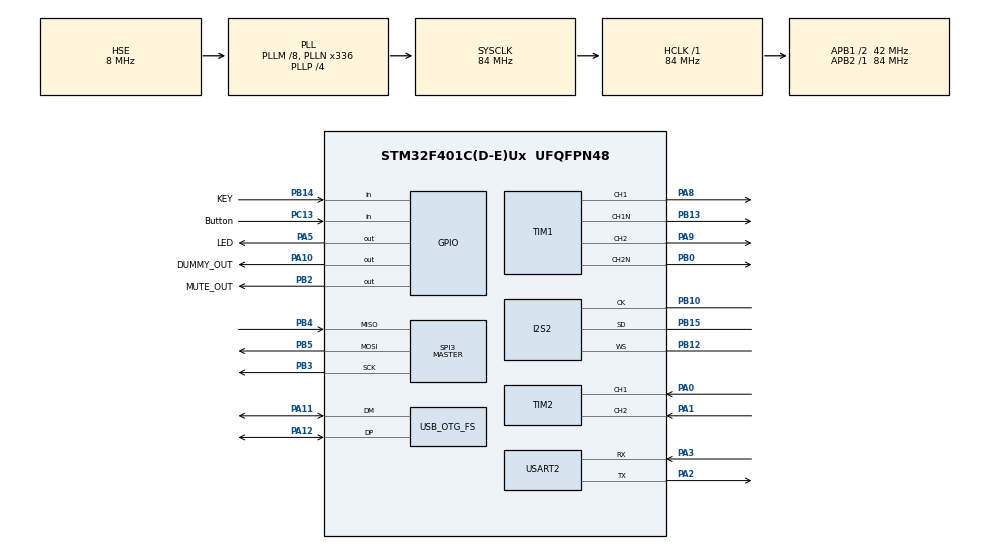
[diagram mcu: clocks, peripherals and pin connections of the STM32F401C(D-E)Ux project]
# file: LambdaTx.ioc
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Dma.Request0=TIM1_CH1
Dma.Request1=TIM1_CH2
Dma.Request2=SPI2_TX
Dma.Request3=SPI3_TX
Dma.SPI2_TX.2.Direction=DMA_MEMORY_TO_PERIPH
Dma.SPI2_TX.2.FIFOMode=DMA_FIFOMODE_ENABLE
Dma.SPI2_TX.2.FIFOThreshold=DMA_FIFO_THRESHOLD_FULL
Dma.SPI2_TX.2.Instance=DMA1_Stream4
Dma.SPI2_TX.2.MemBurst=DMA_MBURST_INC8
Dma.SPI2_TX.2.MemDataAlignment=DMA_MDATAALIGN_HALFWORD
Dma.SPI2_TX.2.MemInc=DMA_MINC_ENABLE
Dma.SPI2_TX.2.Mode=DMA_CIRCULAR
Dma.SPI2_TX.2.PeriphBurst=DMA_PBURST_SINGLE
Dma.SPI2_TX.2.PeriphDataAlignment=DMA_PDATAALIGN_HALFWORD
Dma.SPI2_TX.2.PeriphInc=DMA_PINC_DISABLE
Dma.SPI2_TX.2.Priority=DMA_PRIORITY_HIGH
Dma.SPI3_TX.3.Direction=DMA_MEMORY_TO_PERIPH
Dma.SPI3_TX.3.FIFOMode=DMA_FIFOMODE_DISABLE
Dma.SPI3_TX.3.Instance=DMA1_Stream5
Dma.SPI3_TX.3.MemDataAlignment=DMA_MDATAALIGN_BYTE
Dma.SPI3_TX.3.MemInc=DMA_MINC_ENABLE
Dma.SPI3_TX.3.Mode=DMA_NORMAL
Dma.SPI3_TX.3.PeriphDataAlignment=DMA_PDATAALIGN_BYTE
Dma.SPI3_TX.3.PeriphInc=DMA_PINC_DISABLE
Dma.SPI3_TX.3.Priority=DMA_PRIORITY_LOW
Dma.TIM1_CH1.0.Direction=DMA_MEMORY_TO_PERIPH
Dma.TIM1_CH1.0.FIFOMode=DMA_FIFOMODE_ENABLE
Dma.TIM1_CH1.0.FIFOThreshold=DMA_FIFO_THRESHOLD_FULL
Dma.TIM1_CH1.0.Instance=DMA2_Stream1
Dma.TIM1_CH1.0.MemBurst=DMA_MBURST_INC8
Dma.TIM1_CH1.0.MemDataAlignment=DMA_MDATAALIGN_HALFWORD
Dma.TIM1_CH1.0.MemInc=DMA_MINC_ENABLE
Dma.TIM1_CH1.0.Mode=DMA_CIRCULAR
Dma.TIM1_CH1.0.PeriphBurst=DMA_PBURST_SINGLE
Dma.TIM1_CH1.0.PeriphDataAlignment=DMA_PDATAALIGN_HALFWORD
Dma.TIM1_CH1.0.PeriphInc=DMA_PINC_DISABLE
Dma.TIM1_CH1.0.Priority=DMA_PRIORITY_HIGH
Dma.TIM1_CH2.1.Direction=DMA_MEMORY_TO_PERIPH
Dma.TIM1_CH2.1.FIFOMode=DMA_FIFOMODE_ENABLE
Dma.TIM1_CH2.1.FIFOThreshold=DMA_FIFO_THRESHOLD_FULL
Dma.TIM1_CH2.1.Instance=DMA2_Stream2
Dma.TIM1_CH2.1.MemBurst=DMA_MBURST_INC8
Dma.TIM1_CH2.1.MemDataAlignment=DMA_MDATAALIGN_HALFWORD
Dma.TIM1_CH2.1.MemInc=DMA_MINC_ENABLE
Dma.TIM1_CH2.1.Mode=DMA_CIRCULAR
Dma.TIM1_CH2.1.PeriphBurst=DMA_PBURST_SINGLE
Dma.TIM1_CH2.1.PeriphDataAlignment=DMA_PDATAALIGN_HALFWORD
Dma.TIM1_CH2.1.PeriphInc=DMA_PINC_DISABLE
Dma.TIM1_CH2.1.Priority=DMA_PRIORITY_HIGH
I2S2.AudioFreq=I2S_AUDIOFREQ_192K
I2S2.ErrorAudioFreq=-2.34 %
I2S2.FullDuplexMode=I2S_FULLDUPLEXMODE_DISABLE
I2S2.Instance=SPI$Index
I2S2.RealAudioFreq=187.5 KHz
I2S2.VirtualMode=I2S_MODE_MASTER
Mcu.Family=STM32F4
Mcu.Name=STM32F401C(D-E)Ux
Mcu.Package=UFQFPN48
NVIC.DMA1_Stream4_IRQn=true\:0\:0\:false\:false\:true\:false\:true\:true
NVIC.DMA1_Stream5_IRQn=true\:0\:0\:false\:false\:true\:false\:true\:true
NVIC.DMA2_Stream1_IRQn=true\:0\:0\:false\:false\:true\:false\:true\:true
NVIC.DMA2_Stream2_IRQn=true\:0\:0\:false\:false\:true\:false\:true\:true
NVIC.OTG_FS_IRQn=true\:0\:0\:false\:false\:true\:false\:true\:true
NVIC.PriorityGroup=NVIC_PRIORITYGROUP_4
PA0-WKUP.GPIO_PuPd=GPIO_PULLUP
PA0-WKUP.Signal=S_TIM2_CH1_ETR
PA1.GPIO_PuPd=GPIO_PULLUP
PA1.Signal=S_TIM2_CH2
PA10.GPIO_Label=DUMMY_OUT
PA10.Signal=GPIO_Output
PA11.Mode=Device_Only
PA11.Signal=USB_OTG_FS_DM
PA12.Mode=Device_Only
PA12.Signal=USB_OTG_FS_DP
PA13.Mode=Serial_Wire
PA13.Signal=SYS_JTMS-SWDIO
PA14.Mode=Serial_Wire
PA14.Signal=SYS_JTCK-SWCLK
PA2.Mode=Asynchronous
PA2.Signal=USART2_TX
PA3.Mode=Asynchronous
PA3.Signal=USART2_RX
PA5.GPIO_Label=LED
PA5.Signal=GPIO_Output
PA8.GPIO_ModeDefaultPP=GPIO_MODE_AF_OD
PA8.GPIO_PuPd=GPIO_PULLUP
PA8.GPIO_Speed=GPIO_SPEED_FREQ_HIGH
PA8.Signal=S_TIM1_CH1
PA9.GPIO_ModeDefaultPP=GPIO_MODE_AF_OD
PA9.GPIO_PuPd=GPIO_PULLUP
PA9.GPIO_Speed=GPIO_SPEED_FREQ_HIGH
PA9.Signal=S_TIM1_CH2
PB0.GPIO_ModeDefaultPP=GPIO_MODE_AF_PP
PB0.GPIO_Speed=GPIO_SPEED_FREQ_HIGH
PB0.Mode=PWM Generation2 CH2 CH2N
PB0.Signal=TIM1_CH2N
PB10.Mode=Half_Duplex_Master
PB10.Signal=I2S2_CK
PB12.Mode=Half_Duplex_Master
PB12.Signal=I2S2_WS
PB13.GPIO_ModeDefaultPP=GPIO_MODE_AF_PP
PB13.GPIO_Speed=GPIO_SPEED_FREQ_HIGH
PB13.Mode=PWM Generation1 CH1 CH1N
PB13.Signal=TIM1_CH1N
PB14.GPIO_Label=KEY
PB14.Signal=GPIO_Input
PB15.Mode=Half_Duplex_Master
PB15.Signal=I2S2_SD
PB2.GPIO_Label=MUTE_OUT
PB2.Signal=GPIO_Output
PB3.Mode=Full_Duplex_Master
PB3.Signal=SPI3_SCK
PB4.Mode=Full_Duplex_Master
PB4.Signal=SPI3_MISO
PB5.Mode=Full_Duplex_Master
PB5.Signal=SPI3_MOSI
PC13-ANTI_TAMP.GPIO_Label=Button
PC13-ANTI_TAMP.Signal=GPIO_Input
PC14-OSC32_IN.Mode=LSE-External-Oscillator
PC14-OSC32_IN.Signal=RCC_OSC32_IN
PC15-OSC32_OUT.Mode=LSE-External-Oscillator
PC15-OSC32_OUT.Signal=RCC_OSC32_OUT
PH0\ -\ OSC_IN.Mode=HSE-External-Oscillator
PH0\ -\ OSC_IN.Signal=RCC_OSC_IN
PH1\ -\ OSC_OUT.Mode=HSE-External-Oscillator
PH1\ -\ OSC_OUT.Signal=RCC_OSC_OUT
ProjectManager.HeapSize=0x200
ProjectManager.StackSize=0x400
ProjectManager.TargetToolchain=STM32CubeIDE
RCC.48MHZClocksFreq_Value=48000000
RCC.AHBFreq_Value=84000000
RCC.APB1CLKDivider=RCC_HCLK_DIV2
RCC.APB1Freq_Value=42000000
RCC.APB1TimFreq_Value=84000000
RCC.APB2Freq_Value=84000000
RCC.APB2TimFreq_Value=84000000
RCC.CortexFreq_Value=84000000
RCC.HCLKFreq_Value=84000000
RCC.HSE_VALUE=8000000
RCC.HSI_VALUE=16000000
RCC.PLLM=8
RCC.PLLN=336
RCC.PLLP=RCC_PLLP_DIV4
RCC.PLLQ=7
RCC.SYSCLKFreq_VALUE=84000000
RCC.SYSCLKSource=RCC_SYSCLKSOURCE_PLLCLK
RCC.VCOOutputFreq_Value=336000000
SH.S_TIM1_CH1.0=TIM1_CH1,PWM Generation1 CH1 CH1N
SH.S_TIM1_CH2.0=TIM1_CH2,PWM Generation2 CH2 CH2N
SH.S_TIM2_CH1_ETR.0=TIM2_CH1,Encoder_Interface
SH.S_TIM2_CH2.0=TIM2_CH2,Encoder_Interface
SPI3.CLKPhase=SPI_PHASE_2EDGE
SPI3.CLKPolarity=SPI_POLARITY_HIGH
SPI3.Direction=SPI_DIRECTION_2LINES
SPI3.Mode=SPI_MODE_MASTER
SPI3.VirtualType=VM_MASTER
TIM1.Channel-PWM\ Generation1\ CH1\ CH1N=TIM_CHANNEL_1
TIM1.Channel-PWM\ Generation2\ CH2\ CH2N=TIM_CHANNEL_2
TIM2.AutoReloadPreload=TIM_AUTORELOAD_PRELOAD_ENABLE
TIM2.EncoderMode=TIM_ENCODERMODE_TI12
TIM2.IC2Filter=10
TIM3.Prescaler=840/4-1
USART2.VirtualMode=VM_ASYNC
USB_DEVICE.CLASS_NAME_FS=AUDIO
USB_DEVICE.USBD_AUDIO_FREQ-AUDIO_FS=48000
USB_DEVICE.USBD_SELF_POWERED-AUDIO_FS=0
USB_DEVICE.VirtualMode-AUDIO_FS=Audio
USB_DEVICE.VirtualModeFS=Audio_FS
USB_OTG_FS.VirtualMode=Device_Only
VP_TIM3_VS_ClockSourceINT.Mode=Internal
VP_USB_DEVICE_VS_USB_DEVICE_AUDIO_FS.Mode=AUDIO_FS
board=custom

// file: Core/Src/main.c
/* USER CODE BEGIN Header */
/**
  ******************************************************************************
  * @file           : main.c
  * @brief          : Main program body
  ******************************************************************************
  * @attention
  *
  * <h2><center>&copy; Copyright (c) 2022 STMicroelectronics.
  * All rights reserved.</center></h2>
  *
  * This software component is licensed by ST under Ultimate Liberty license
  * SLA0044, the "License"; You may not use this file except in compliance with
  * the License. You may obtain a copy of the License at:
  *                             www.st.com/SLA0044
  *
  ******************************************************************************
  */
/* USER CODE END Header */
#include "main.h"
#include "usb_device.h"

/* USER CODE BEGIN Includes */
#include <stdio.h>
#include <stdlib.h>

/* USER CODE END Includes */

/* USER CODE BEGIN PD */

//**********************start user define************!!!!!
// cpu clock 84 for stm32f401
#define SYS_CLK_MHZ 84

//#define EYE
// use internal timers for sound out
#define   USE_PWM
//#define USE_I2S
//#define   USE_SPDIF

//slower for float - faster for integer
//#define USE_FLOAT_SIGMA

// integration order 0 , 1 or 2
//#define ORDER 1
#define ORDER 1

// if disabled - direct output (order 0)

// if enabled - use bilinear interpolation
//#define LINEAR_INTERPOLATION

//**********************end user define area************!!!!!!!!

#define TIMER_CLOCK_FREQ 400000.0f

#ifdef  USE_PWM
#if     (ORDER!=0)
#define FREQ  (48000*6)
#define MAX_VOL  (SYS_CLK_MHZ*1000000/FREQ)
#else
#define FREQ  (44100)
#define MAX_VOL = (SYS_CLK_MHZ*1000000/FREQ)
#endif
#endif

#ifdef  USE_I2S  //No PWM, I2S output to external DAC
#define MAX_VOL (65536)
#define FREQ   (2*96000)
#endif

#ifdef  USE_SPDIF  //No PWM, I2S output to external DAC
#define MAX_VOL (65536)
#define FREQ   (96000/2)
#endif

#define DBL_SAMPL 1

#define SIGMA_BITS  16
#define SIGMA       (1<<SIGMA_BITS)

#define USB_DATA_BITS   16
#define USB_DATA_BITS_H (USB_DATA_BITS-1)

#define SPDIF_FRAMES 192
#ifdef  USE_SPDIF
#define N_SIZE      (SPDIF_FRAMES*4)
#else
#define N_SIZE_BITS (8)
#define N_SIZE (1<<N_SIZE_BITS)
#endif

#define ASBUF_SIZE     (N_SIZE*2)
int16_t baudio_buffer[ASBUF_SIZE];

// between [14  20]
#define TIME_BIT_SCALE_FACT 18u
#define TIME_SCALE_FACT     (1u<<TIME_BIT_SCALE_FACT)

//linear is more precision
#ifdef LINEAR_INTERPOLATION
#define BIT_SHIFT_SCALE_FACT 12
#define SHIFT_SCALE_FACT  (1<<BIT_SHIFT_SCALE_FACT)
#endif

//#define MAX_VOL (2046/TIME_SCALE_FACT)

/* USER CODE END PD */

I2S_HandleTypeDef hi2s2;
DMA_HandleTypeDef hdma_spi2_tx;

SPI_HandleTypeDef hspi3;
DMA_HandleTypeDef hdma_spi3_tx;

TIM_HandleTypeDef htim2;
TIM_HandleTypeDef htim3;

UART_HandleTypeDef huart2;

void SystemClock_Config(void);
static void MX_GPIO_Init(void);
static void MX_DMA_Init(void);
static void MX_I2S2_Init(void);
static void MX_SPI3_Init(void);
static void MX_TIM1_Init(void);
static void MX_TIM3_Init(void);
static void MX_TIM2_Init(void);
static void MX_USART2_UART_Init(void);

/* USER CODE BEGIN 0 */

uint16_t* VoiceBuff0 = (uint16_t*)&baudio_buffer[0];
uint16_t* VoiceBuff1 = (uint16_t*)&baudio_buffer[N_SIZE];

void TIM1_TE1()
{
}
void TIM1_TC2()
{
}
void TIM1_HT2()
{
}
void TIM1_TE2()
{
}

void init_timers()
{

	  TIM1->ARR = MAX_VOL-1;
	  LL_AHB1_GRP1_EnableClock(LL_AHB1_GRP1_PERIPH_DMA2);
	  LL_DMA_ConfigAddresses(DMA2, LL_DMA_STREAM_1, (uint32_t)&VoiceBuff0[0], (uint32_t)&TIM1->CCR1, LL_DMA_GetDataTransferDirection(DMA2, LL_DMA_STREAM_1));
	  LL_DMA_SetDataLength(DMA2, LL_DMA_STREAM_1, N_SIZE);
	  LL_DMA_EnableIT_TC(DMA2, LL_DMA_STREAM_1);
	  LL_DMA_EnableIT_TE(DMA2, LL_DMA_STREAM_1);
	  LL_DMA_EnableIT_HT(DMA2, LL_DMA_STREAM_1);

	  LL_DMA_ConfigAddresses(DMA2, LL_DMA_STREAM_2, (uint32_t)&VoiceBuff1[0], (uint32_t)&TIM1->CCR2, LL_DMA_GetDataTransferDirection(DMA2, LL_DMA_STREAM_2));
	  LL_DMA_SetDataLength(DMA2, LL_DMA_STREAM_2, N_SIZE);
	  LL_DMA_EnableIT_TC(DMA2, LL_DMA_STREAM_2);
	  LL_DMA_EnableIT_HT(DMA2, LL_DMA_STREAM_2);
	  LL_DMA_EnableIT_TE(DMA2, LL_DMA_STREAM_2);

	  /***************************/
	  /* Enable the DMA transfer */
	  /***************************/
	  LL_DMA_EnableStream(DMA2, LL_DMA_STREAM_1);
	  LL_DMA_EnableStream(DMA2, LL_DMA_STREAM_2);

	  LL_TIM_EnableDMAReq_CC1(TIM1);
	  LL_TIM_EnableDMAReq_CC2(TIM1);

	  LL_TIM_CC_EnableChannel(TIM1, LL_TIM_CHANNEL_CH1);
	  LL_TIM_CC_EnableChannel(TIM1, LL_TIM_CHANNEL_CH2);

	  LL_TIM_OC_EnablePreload(TIM1, LL_TIM_CHANNEL_CH1);
	  LL_TIM_OC_EnablePreload(TIM1, LL_TIM_CHANNEL_CH2);

	  LL_TIM_CC_EnableChannel(TIM1, LL_TIM_CHANNEL_CH1N);
	  LL_TIM_CC_EnableChannel(TIM1, LL_TIM_CHANNEL_CH2N);
#if 0
	  //LL_TIM_OC_SetPolarity(TIM1, LL_TIM_CHANNEL_CH1,LL_TIM_OCPOLARITY_HIGH);
	  //LL_TIM_OC_SetPolarity(TIM1, LL_TIM_CHANNEL_CH1N,LL_TIM_OCPOLARITY_LOW);
	  LL_TIM_OC_SetPolarity(TIM1, LL_TIM_CHANNEL_CH1,LL_TIM_OCPOLARITY_HIGH);
	  LL_TIM_OC_SetPolarity(TIM1, LL_TIM_CHANNEL_CH1N,LL_TIM_OCPOLARITY_HIGH);
	  LL_TIM_OC_SetPolarity(TIM1, LL_TIM_CHANNEL_CH2,LL_TIM_OCPOLARITY_HIGH);
	  LL_TIM_OC_SetPolarity(TIM1, LL_TIM_CHANNEL_CH2N,LL_TIM_OCPOLARITY_HIGH);
      int res;
	  res = LL_TIM_OC_GetPolarity(TIM1, LL_TIM_CHANNEL_CH1);
	  printf("OC_GetPolarity %d\n",res);
	  res = LL_TIM_OC_GetPolarity(TIM1, LL_TIM_CHANNEL_CH1N);
	  printf("OC_GetPolarity %d\n",res);
#endif

	  LL_TIM_EnableCounter(TIM1);

	  LL_TIM_GenerateEvent_UPDATE(TIM1);
	  LL_TIM_GenerateEvent_CC1(TIM1);

}
//void init_timer3LL()
//{
//	LL_TIM_EnableCounter(TIM3);
//	LL_TIM_GenerateEvent_UPDATE(TIM3);
//	LL_TIM_GenerateEvent_CC1(TIM3);
//}

uint32_t AUDIO_PeriodicTC_FS_Counter;
void retarget_put_char(char p)
{
	HAL_UART_Transmit(&huart2, &p, 1, 0xffffff); // send message via UART
}
int _write(int fd, char* ptr, int len)
{
    (void)fd;
    int i = 0;
    while (ptr[i] && (i < len))
    {
    	if (ptr[i] == '\r')
    	{

    	}
    	else
    	{
			retarget_put_char((int)ptr[i]);
			if (ptr[i] == '\n')
			{
				retarget_put_char((int)'\r');
			}
    	}
        i++;
    }
    return len;
}

volatile int AUDIO_OUT_Play_Counter;
volatile int AUDIO_OUT_ChangeBuffer_Counter;
volatile int TransferComplete_CallBack_FS_Counter;
volatile int HalfTransfer_CallBack_FS_Counter;

//volatile fl = 0;
uint32_t  samplesInBuff        = 0;
int32_t   samplesInBuffH       = 0;
int16_t * usb_SndBuffer        = 0;

uint32_t  samplesInBuffScaled  = 0;
uint32_t  readPositionXScaled  = 0;  //readPosition<<12;
uint32_t  readSpeedXScaled     = 1.001*TIME_SCALE_FACT*USBD_AUDIO_FREQ/(float)FREQ;
int frequency=123;

struct LR
{
	int16_t L;
	int16_t R;
	uint32_t freq;
};
volatile int32_t ampL = 0;
volatile int32_t ampR = 0;
volatile int32_t LLL = 0;
volatile int32_t RRR = 0;
volatile int UsbSamplesAvail = 0;
int zeroSamplePosition=0;
int lastZeroSamplePosition=0;

struct LR getNextSampleLR()
{
	struct LR res ;
	res.L = 0;
	res.R = 0;
	//res.freq = 0;
	//if(usb_SndBuffer)
	HAL_GPIO_WritePin(LED_GPIO_Port,LED_Pin,GPIO_PIN_SET);

	if(UsbSamplesAvail)
	{
		HAL_GPIO_WritePin(LED_GPIO_Port,LED_Pin,GPIO_PIN_RESET);
		readPositionXScaled += readSpeedXScaled;
		if(readPositionXScaled >= samplesInBuffScaled)
		{
			readPositionXScaled -= samplesInBuffScaled;
		}

		uint32_t readPositionIntC = readPositionXScaled>>TIME_BIT_SCALE_FACT;
		//uint32_t readPositionIntN = readPositionIntC+1;

		int16_t L  = usb_SndBuffer[readPositionIntC*2+0];//+usb_SndBuffer[readPositionIntN*2+0];
		int16_t R  = usb_SndBuffer[readPositionIntC*2+1];//+usb_SndBuffer[readPositionIntN*2+1];

		// zero cross
		int16_t L_previous  = usb_SndBuffer[readPositionIntC*2+2];

		if(L<0 && L_previous>0 && L!=0 && L!=-1 && L_previous!=0 && L_previous!=-1)
		{
			zeroSamplePosition=readPositionIntC*2;
		}

		int samplesCount = (zeroSamplePosition-lastZeroSamplePosition)/2;

		if(samplesCount>15 && samplesCount<480)
		{
			int16_t LastSample = usb_SndBuffer[lastZeroSamplePosition+0];
			int16_t nextToLastSample = usb_SndBuffer[lastZeroSamplePosition+2];

			//linear interpolation
			int32_t startOffset = -(nextToLastSample*20833)/(LastSample-nextToLastSample);
			int32_t endOffset = -(L*20833)/(L_previous-L);
			int32_t period= startOffset + (samplesCount-1) * 20833 + endOffset;

			frequency=100000000000/period;

			/*
			int samples[20];
			int j = 0;

			for (int i=0;i<40;i=i+2)
			{
				samples[j] = usb_SndBuffer[lastZeroSamplePosition+i];
				j++;
			}

			j=0;
			*/
			lastZeroSamplePosition=0;
			zeroSamplePosition=0;
		}
		else
		{
			lastZeroSamplePosition=zeroSamplePosition;
		}

		if (L==0 && L_previous==0)
		{
			res.freq = 0;
		}
		else
		{
			res.freq = frequency;
		}

		res.L = L;
		res.R = R;
	}

    return res;
}
void  AUDIO_Init(uint32_t AudioFreq, uint32_t Volume, uint32_t options)
{
	printf("AUDIO_Init %d %d %d\n",AudioFreq,Volume,options);
}

void AUDIO_OUT_Start(uint16_t* pBuffer, uint32_t Size)
{
	printf("AUDIO_OUT_Start %p Size = %d\n",pBuffer,Size);
	samplesInBuff = Size/4; //(L & R channels short)
	samplesInBuffH = samplesInBuff/2;

	usb_SndBuffer = pBuffer;
	AUDIO_OUT_Play_Counter++;

	samplesInBuffScaled = samplesInBuff<<TIME_BIT_SCALE_FACT;
	readPositionXScaled = samplesInBuffScaled/2;

}

uint16_t  lastDmaAccessTime;
int       lastDmaPos;
uint32_t   outDmaSpeedScaled;
int       sForcedSpeed;
uint16_t  lastAudioUsbTimeStamp;
float inputSpeed = 0;

int prevPos = -1 ;

int  median3(int  a, int  b, int  c)
{
   return (b<a)
              ?   (b<c)  ?  (c<a) ? c : a  :  b
              :   (a<c)  ?  (c<b) ? c : b  :  a;
}

int timeForRecivedSamples_mean[3];
int pnt_timeForRecivedSamples_mean = 0;
int appDistErr = 0;

void AUDIO_OUT_Periodic(uint16_t* pBuffer, uint32_t Size)
{
	AUDIO_PeriodicTC_FS_Counter++;
	if(!usb_SndBuffer) return ;
	int cPos  = (pBuffer - (uint16_t*)usb_SndBuffer)/2;
	uint16_t lastAudioUsbTimeStampNew = TIM3->CNT;
	if(cPos==0)
	{
		uint16_t timeForRecivedSamples = lastAudioUsbTimeStampNew - lastAudioUsbTimeStamp;

		timeForRecivedSamples_mean [pnt_timeForRecivedSamples_mean++] = timeForRecivedSamples;
		if(pnt_timeForRecivedSamples_mean>2)pnt_timeForRecivedSamples_mean = 0;

        lastAudioUsbTimeStamp = lastAudioUsbTimeStampNew;

	}

	if(cPos==0)
	{

		//

		int  timeForRecivedSamples = median3(timeForRecivedSamples_mean[0],timeForRecivedSamples_mean[1],timeForRecivedSamples_mean[2]);
		//(TIMER_CLOCK_FREQ*(float)outDmaSpeedScaled)/TIME_SCALE_FACT;
		if(timeForRecivedSamples)
			inputSpeed = samplesInBuff*TIMER_CLOCK_FREQ/timeForRecivedSamples;

		//sForcedSpeed = (int)(samplesInBuff*TIME_SCALE_FACT*mean/(timeForRecivedSamples*N_SIZE);

		uint16_t timeFromLastDMA = lastAudioUsbTimeStampNew - lastDmaAccessTime;

		//where i am ?

		int approximateSamplesOutedFromLastDMA  = ((float)timeFromLastDMA/TIMER_CLOCK_FREQ)*inputSpeed;

		int appDistance  =  (int)(lastDmaPos + approximateSamplesOutedFromLastDMA )-cPos;
		if(appDistance    < 0 ) appDistance += samplesInBuff;
		//while(appDistance > samplesInBuff)  appDistance -= samplesInBuff;
		int err = appDistance - samplesInBuffH;

        if(UsbSamplesAvail)
		{
        	if(timeForRecivedSamples)
        	{
				int dC = appDistance - prevPos;
				while(dC>samplesInBuffH)  dC-=samplesInBuff;
				while(dC<-samplesInBuffH) dC+=samplesInBuff;
				appDistErr = err;
				if(err > samplesInBuffH/2 || err <-samplesInBuffH/2 ) //seems completely lost sync , force set frequency
				{
					float outSpeed = (TIMER_CLOCK_FREQ*(float)outDmaSpeedScaled)/TIME_SCALE_FACT;
					sForcedSpeed = (int)(inputSpeed*TIME_SCALE_FACT/outSpeed);
					readSpeedXScaled = sForcedSpeed;
					readPositionXScaled = samplesInBuffScaled/2;
				}
				else
				{
					//ok - only phase tune
					readSpeedXScaled -= dC + err/256;// + 8*err/samplesInBuff ;//- ((err>0)?1:(err<0)?-1:0);
				}
        	}
		}
        else
        {
        	readPositionXScaled = samplesInBuffScaled/2;
        }
		prevPos =  appDistance;
		UsbSamplesAvail = samplesInBuff*((int)((float)FREQ/USBD_AUDIO_FREQ+0.5f))*2;
	}

}

typedef struct
{
	float x;
	float y;
} vec2f;

typedef float mat4f[4] ;
void printMat(mat4f m2)
{
	printf("%1.3f %1.3f\n",m2[0],m2[1]);
	printf("%1.3f %1.3f\n",m2[2],m2[3]);
}

void printVec(vec2f v)
{
	printf("x=%1.3f y=%1.3f\n",v.x,v.y);
}

vec2f applyMat(mat4f m2,vec2f v)
{
	vec2f res;
	res.x = v.x*m2[0]+v.y*m2[1];
	res.y = v.x*m2[2]+v.y*m2[3];
	return res;
}

void makeRotMat(mat4f xx,float alpha)
{
	float cosA = cosf(alpha);
	float sinA = sinf(alpha);
	xx[0]  = cosA; xx[1]  = -sinA;
	xx[2]  = sinA; xx[3]  = cosA;
}
void AUDIO_OUT_ChangeBuffer(uint16_t *pBuffer, uint16_t Size)
{
	printf("%p SizeC = %d\n",pBuffer,Size);
		AUDIO_OUT_ChangeBuffer_Counter++;
		//fl = 1;
		//HAL_I2S_Transmit_DMA(&hi2s2, pBuffer,Size);
}
void cleanAudioBuffer()
{
#ifdef PWM
	for(int k=0;k<N_SIZE;k++)
	{
		VoiceBuff0[k] = MAX_VOL/2;
		VoiceBuff1[k] = MAX_VOL/2;
	}
#else
	for(int k=0;k<N_SIZE;k++)
	{
		VoiceBuff0[k] = 0;
		VoiceBuff1[k] = 0;
	}
#endif
}

struct sigmaDeltaStorage
{
	float integral;
	float y;
};
struct sigmaDeltaStorage2
{
	float integral0;
	float integral1;
	float y;
};

float funcN1(float x,int N)
{
	//float y = 2.0f*floorf(x*0.5f)+1.0f;
	float y = floorf(x+0.5f);
	//saturate
	if(y>N) y = N;
	if(y<-N) y = -N;
	return y;
}

float sigma_delta_slow(struct sigmaDeltaStorage* st,float x)
{
	st->integral+= x - st->y;
	st->y = funcN1(st->integral,(int)(MAX_VOL/2));
	return st->y;
}

struct  sigmaDeltaStorage_SCALED
{
	int integral;
//	int y;
};
struct  sigmaDeltaStorage2_SCALED
{
	int integral0;
	int integral1;
	//int y;
};

float sigma_delta(struct sigmaDeltaStorage* st,float x)
{
	st->integral+= x - st->y;
	st->y = floorf(st->integral+0.5f);
	if(st->y<0)st->y = 0;
	if(st->y>MAX_VOL)st->y = MAX_VOL;

	return st->y;
}

float sigma_delta2(struct sigmaDeltaStorage2* st,float x)
{
	st->integral0+= x             - st->y;
	st->integral1+= st->integral0 - st->y;
	st->y = floorf(st->integral1+0.5f);
	if(st->y<0)st->y = 0;
	if(st->y>MAX_VOL)st->y = MAX_VOL;

	return st->y;
}

int sigma_delta_SCALED(struct sigmaDeltaStorage_SCALED* st,int x_SCALED)
{
	int y		 =st->integral>>SIGMA_BITS;
	if(y < 0)
		y = 0;
	if(y > MAX_VOL)
		y = MAX_VOL;

	st->integral+= x_SCALED - (y<<SIGMA_BITS);
	return y;
}

int sigma_delta2_SCALED(struct sigmaDeltaStorage2_SCALED* st,int x_SCALED)
{
	int y		 =st->integral1>>SIGMA_BITS;
	if(y < 0)
		y = 0;
	if(y > MAX_VOL)
		y = MAX_VOL;

	st->integral0+= x_SCALED      - (y<<SIGMA_BITS);
	st->integral1+= st->integral0 - (y<<SIGMA_BITS);
	//st->y		 =(st->integral1+SIGMA/2)/SIGMA;
	return y;
}

struct sigmaDeltaStorage static_L_channel;
struct sigmaDeltaStorage static_R_channel;

struct sigmaDeltaStorage_SCALED static_L_channel_SCALED;
struct sigmaDeltaStorage_SCALED static_R_channel_SCALED;

struct sigmaDeltaStorage2 static_L_channel2;
struct sigmaDeltaStorage2 static_R_channel2;

struct sigmaDeltaStorage2_SCALED static_L_channel2_SCALED;
struct sigmaDeltaStorage2_SCALED static_R_channel2_SCALED;

int tfl_mean[3];
int pnt_mean = 0;
void checkTime()
{
	uint16_t prevTime;
	uint16_t  tfl;
	prevTime = lastDmaAccessTime;
	lastDmaAccessTime = TIM3->CNT;
	//lastDmaPos  = readPositionXScaled>>TIME_BIT_SCALE_FACT;
	//tfl = lastDmaAccessTime -prevTime;
	//outDmaSpeedScaled =  TIME_SCALE_FACT*N_SIZE/(tfl);

	lastDmaPos  = readPositionXScaled>>TIME_BIT_SCALE_FACT;
	tfl      = lastDmaAccessTime -prevTime;

	tfl_mean[pnt_mean] = tfl;
	pnt_mean++;
	if(pnt_mean>2) pnt_mean =0;

    int mean = median3(tfl_mean[0],tfl_mean[1],tfl_mean[2]);
    if (!mean) mean = 1;

#ifdef USE_SPDIF
	outDmaSpeedScaled =  TIME_SCALE_FACT*N_SIZE/4*DBL_SAMPL/(mean);
#else
	outDmaSpeedScaled =  TIME_SCALE_FACT*N_SIZE*DBL_SAMPL/(mean);
#endif
}
void readDataTim(int offset)
{
#if    (ORDER==0)
	for(int k=0;k<N_SIZE/2;k++)
	{
		struct LR tt =getNextSampleLR(/*k+ASBUF_SIZE/4*/);
		VoiceBuff0[k+offset] = MAX_VOL*(tt.L+(1<<USB_DATA_BITS_H))>>USB_DATA_BITS;
		VoiceBuff1[k+offset] = MAX_VOL*(tt.R+(1<<USB_DATA_BITS_H))>>USB_DATA_BITS;
	}
#endif
#ifdef USE_FLOAT_SIGMA
#if    (ORDER==1)
	float a_scale = MAX_VOL/65536.0f;
	for(int k=0;k<N_SIZE/2;k++)
	{
		struct LR tt =getNextSampleLR(/*k+ASBUF_SIZE/4*/);
		VoiceBuff0[k+offset] =( int)(sigma_delta2(&static_L_channel2,a_scale*tt.L+ MAX_VOL/2));
		VoiceBuff1[k+offset] =( int)(sigma_delta2(&static_R_channel2,a_scale*tt.R+ MAX_VOL/2));
	}
#if    (ORDER==2)
	float a_scale = MAX_VOL/65536.0f;
	for(int k=0;k<N_SIZE/2;k++)
	{
		struct LR tt =getNextSampleLR(/*k+ASBUF_SIZE/4*/);
		VoiceBuff0[k+offset] =( int)(sigma_delta(&static_L_channel,a_scale*tt.L+ MAX_VOL/2));
		VoiceBuff1[k+offset] =( int)(sigma_delta(&static_R_channel,a_scale*tt.R+ MAX_VOL/2));
	}
#endif
#endif
#else //integer sigma
#if (ORDER==1)
	VoiceBuff0[0] = 0;
	VoiceBuff1[0] = 0;
	struct LR tt =getNextSampleLR(/*k+ASBUF_SIZE/4*/);
	//for(int k=0;k<N_SIZE/2;k++)
	//{
	//	struct LR tt =getNextSampleLR(/*k+ASBUF_SIZE/4*/);
	//	VoiceBuff0[k+offset] =sigma_delta_SCALED(&static_L_channel_SCALED,((MAX_VOL)*(tt.L+(1<<USB_DATA_BITS_H)))>>(USB_DATA_BITS-SIGMA_BITS));
	//	VoiceBuff1[k+offset] =sigma_delta_SCALED(&static_R_channel_SCALED,((MAX_VOL)*(tt.R+(1<<USB_DATA_BITS_H)))>>(USB_DATA_BITS-SIGMA_BITS));
	//}

#endif
#if (ORDER==2)
	for(int k=0;k<N_SIZE/2;k++)
	{
		struct LR tt =getNextSampleLR(/*k+ASBUF_SIZE/4*/);
		VoiceBuff0[k+offset] =sigma_delta2_SCALED(&static_L_channel2_SCALED,(MAX_VOL*(tt.L+(1<<USB_DATA_BITS_H)))>>(USB_DATA_BITS-SIGMA_BITS));
		VoiceBuff1[k+offset] =sigma_delta2_SCALED(&static_R_channel2_SCALED,(MAX_VOL*(tt.R+(1<<USB_DATA_BITS_H)))>>(USB_DATA_BITS-SIGMA_BITS));
	}
#endif
#endif
}
void TIM1_TC1()
{

    checkTime();
    /*
    if(UsbSamplesAvail > N_SIZE/2)
    {
    	UsbSamplesAvail -= N_SIZE/2;
    }
    else
    {
    	UsbSamplesAvail = 0;
    }
    */
	TransferComplete_CallBack_FS_Counter++;
	readDataTim(N_SIZE/2);
}
void TIM1_HT1()
{
	HalfTransfer_CallBack_FS_Counter++;
    if(UsbSamplesAvail > N_SIZE/2)
    {
    	UsbSamplesAvail -= N_SIZE/2;
    }
    else
    {
    	UsbSamplesAvail = 0;
    }
    readDataTim(0);
}

//http://www.hardwarebook.info/S/PDIF
//https://sigrok.org/wiki/Protocol_decoder:Spdif
//uint8_t chanel_bit[SPDIF_FRAMES] = {0,0,1,0,0,0};
uint8_t chanel_bit[SPDIF_FRAMES] = {0,0,0,0,0,0};
int     last_phase = 0;

uint16_t bitTable[256];
void makePTable()
{
	for(int k=0;k<256;k++)
	{
		int flag = 0;
		uint16_t num =0;
		for(int bit=0;bit<8;bit++)
		{
			int ind = 15-bit*2;
			if(k&(1<<bit))
			{
				num |= (!flag)<<(ind);
				num |=   flag <<(ind-1);
			}
			else
			{
				flag= !flag;
				num |= flag<<(ind);
				num |= flag<<(ind-1);
			}
		}
		bitTable[k] = num;
	}
}
#define MARKER_B 0b1110100011001100
#define MARKER_M 0b1110001011001100
#define MARKER_W 0b1110010011001100
#define VALIDITY     (28u)
#define SUB     	 (29u)
#define CH           (30u)
#define PARITY       (31u)
uint32_t parity(uint32_t val)
{
	return __builtin_parity(val);
}
void HAL_I2S_TxCpltCallback(I2S_HandleTypeDef *hi2s)
{
    checkTime();
	int FACTOR= 1;
#ifdef USE_SPDIF
	FACTOR= 4;
#endif
    if(UsbSamplesAvail > N_SIZE/2/FACTOR)
    {
    	UsbSamplesAvail -= N_SIZE/2/FACTOR;
    }
    else
    {
    	UsbSamplesAvail = 0;
    }

	TransferComplete_CallBack_FS_Counter++;
#ifdef USE_I2S
    struct LR * bfr = ((struct LR *) baudio_buffer)+ASBUF_SIZE/4;
	for(int k=0;k<ASBUF_SIZE/4;k++)
	{
		bfr[k] = getNextSampleLR(/*k+ASBUF_SIZE/4*/);

	}
#endif
#ifdef USE_SPDIF
	uint16_t *bbuf = (uint16_t *)&baudio_buffer[ASBUF_SIZE/2];
	for(int k=0;k<SPDIF_FRAMES/2;k++)
	{
		struct LR lr = getNextSampleLR(/*k*/);
//		uint32_t lv = ((int)(lr.L)+(1<<USB_DATA_BITS_H))<<(26-USB_DATA_BITS_H);
//		uint32_t rv = ((int)(lr.R)+(1<<USB_DATA_BITS_H))<<(26-USB_DATA_BITS_H);
		uint16_t L = lr.L;
		uint16_t R = lr.R;

		uint32_t lv = ((uint32_t)(L))<<(27-USB_DATA_BITS_H);
		uint32_t rv = ((uint32_t)(R))<<(27-USB_DATA_BITS_H);

		lv |= (chanel_bit[k+SPDIF_FRAMES/2]<<CH)+(0<<VALIDITY)+(0<<SUB);
		lv |= parity(lv)<<PARITY;
		//b
		{
			uint16_t nm0 = MARKER_M;
			if(last_phase) nm0 = ~nm0;
			last_phase = nm0 & 1;
			uint16_t nm1 = bitTable[(lv>>(8))&0xff];
			if(last_phase) nm1 = ~nm1;
			last_phase = nm1 & 1;
			uint16_t nm2 = bitTable[(lv>>(16))&0xff];
			if(last_phase) nm2 = ~nm2;
			last_phase = nm2 & 1;
			uint16_t nm3 = bitTable[(lv>>(24))&0xff];
			if(last_phase) nm3 = ~nm3;
			last_phase = nm3 & 1;

			bbuf[k*8+0] = nm0;
			bbuf[k*8+1] = nm1;
			bbuf[k*8+2] = nm2;
			bbuf[k*8+3] = nm3;
		}

		rv |= (chanel_bit[k+SPDIF_FRAMES/2]<<CH)+(0<<VALIDITY)+(0<<SUB);
		rv |= parity(rv)<<PARITY;
		{
			uint16_t nm0 = MARKER_W;
			if(last_phase) nm0 = ~nm0;
			last_phase = nm0 & 1;
			uint16_t nm1 = bitTable[(rv>>(8))&0xff];
			if(last_phase) nm1 = ~nm1;
			last_phase = nm1 & 1;
			uint16_t nm2 = bitTable[(rv>>(16))&0xff];
			if(last_phase) nm2 = ~nm2;
			last_phase = nm2 & 1;
			uint16_t nm3 = bitTable[(rv>>(24))&0xff];
			if(last_phase) nm3 = ~nm3;
			last_phase = nm3 & 1;

			bbuf[k*8+4] = nm0;
			bbuf[k*8+5] = nm1;
			bbuf[k*8+6] = nm2;
			bbuf[k*8+7] = nm3;
		}
	}
#endif

}

//void HAL_I2S_TxHalfCpltCallback(I2S_HandleTypeDef *hi2s)
void HAL_I2S_TxHalfCpltCallback(I2S_HandleTypeDef *hi2s)
{
	int FACTOR= 1;
#ifdef USE_SPDIF
	FACTOR= 4;
#endif
    if(UsbSamplesAvail > N_SIZE/2/FACTOR)
    {
    	UsbSamplesAvail -= N_SIZE/2/FACTOR;
    }
    else
    {
    	UsbSamplesAvail = 0;
    }

    HalfTransfer_CallBack_FS_Counter++;
#ifdef USE_I2S
	struct LR * bfr = ((struct LR *) baudio_buffer);
	for(int k=0;k<ASBUF_SIZE/4;k++)
		bfr[k] = getNextSampleLR(/*k*/);
#endif
#ifdef USE_SPDIF
	uint16_t *bbuf = (uint16_t *)&baudio_buffer[0];
	for(int k=0;k<SPDIF_FRAMES/2;k++)
	{
		struct LR lr = getNextSampleLR(/*k*/);
//		uint32_t lv = ((int)(lr.L)+(1<<USB_DATA_BITS_H))<<(26-USB_DATA_BITS_H);
//		uint32_t rv = ((int)(lr.R)+(1<<USB_DATA_BITS_H))<<(26-USB_DATA_BITS_H);
		uint16_t L = lr.L;
		uint16_t R = lr.R;

		uint32_t lv = ((uint32_t)(L))<<(27-USB_DATA_BITS_H);
		uint32_t rv = ((uint32_t)(R))<<(27-USB_DATA_BITS_H);

		lv |= (chanel_bit[k]<<CH)+(0<<VALIDITY)+(0<<SUB);
		lv |= parity(lv)<<PARITY;
		//b
		{
			uint16_t nm0 = k==0?MARKER_B:MARKER_M;
			if(last_phase) nm0 = ~nm0;
			last_phase = nm0 & 1;
			uint16_t nm1 = bitTable[(lv>>(8))&0xff];
			if(last_phase) nm1 = ~nm1;
			last_phase = nm1 & 1;
			uint16_t nm2 = bitTable[(lv>>(16))&0xff];
			if(last_phase) nm2 = ~nm2;
			last_phase = nm2 & 1;
			uint16_t nm3 = bitTable[(lv>>(24))&0xff];
			if(last_phase) nm3 = ~nm3;
			last_phase = nm3 & 1;

			bbuf[k*8+0] = nm0;
			bbuf[k*8+1] = nm1;
			bbuf[k*8+2] = nm2;
			bbuf[k*8+3] = nm3;
		}

		rv |= (chanel_bit[k]<<CH)+(0<<VALIDITY)+(0<<SUB);
		rv |= parity(rv)<<PARITY;
		{
			uint16_t nm0 = MARKER_W;
			if(last_phase) nm0 = ~nm0;
			last_phase = nm0 & 1;
			uint16_t nm1 = bitTable[(rv>>(8))&0xff];
			if(last_phase) nm1 = ~nm1;
			last_phase = nm1 & 1;
			uint16_t nm2 = bitTable[(rv>>(16))&0xff];
			if(last_phase) nm2 = ~nm2;
			last_phase = nm2 & 1;
			uint16_t nm3 = bitTable[(rv>>(24))&0xff];
			if(last_phase) nm3 = ~nm3;
			last_phase = nm3 & 1;

			bbuf[k*8+4] = nm0;
			bbuf[k*8+5] = nm1;
			bbuf[k*8+6] = nm2;
			bbuf[k*8+7] = nm3;
		}
	}
#endif

	//HalfTransfer_CallBack_FS();
}

void HAL_I2S_ErrorCallback(I2S_HandleTypeDef *hi2s)
{
	printf("HAL_I2S_ErrorCallback !!!!!!!!!!!!!!!\n");
  //BSP_AUDIO_OUT_Error_CallBack();
}

#define PI 3.14159265358979323846
#define TAU (2.0 * PI)

/* USER CODE END 0 */

int main(void)
{

  /* MCU Configuration--------------------------------------------------------*/

  /* Reset of all peripherals, Initializes the Flash interface and the Systick. */
  HAL_Init();

  /* Configure the system clock */
  SystemClock_Config();

  /* Initialize all configured peripherals */
  MX_GPIO_Init();
  MX_DMA_Init();
  MX_I2S2_Init();
  MX_SPI3_Init();
  MX_TIM1_Init();
  MX_TIM3_Init();
  MX_USB_DEVICE_Init();
  MX_TIM2_Init();
  MX_USART2_UART_Init();
  /* USER CODE BEGIN 2 */
  //0 1 2 3 0

  printf("\nStart program\n");

  HAL_TIM_Encoder_Start(&htim2, TIM_CHANNEL_ALL);
  cleanAudioBuffer();
  TIM3->PSC  = (int)(SYS_CLK_MHZ*1000000.0f/TIMER_CLOCK_FREQ)-1;
  HAL_TIM_Base_Start(&htim3);
  HAL_StatusTypeDef stat;

#ifdef  USE_PWM
  LL_TIM_DisableAllOutputs(TIM1);
  init_timers();
  HAL_Delay(100);
  LL_TIM_EnableAllOutputs(TIM1);
#endif
#ifdef  USE_I2S
  stat = HAL_I2S_Transmit_DMA(&hi2s2, baudio_buffer,ASBUF_SIZE);
  HAL_Delay(100);
#endif
#ifdef  USE_SPDIF
  makePTable();
  stat = HAL_I2S_Transmit_DMA(&hi2s2, baudio_buffer,ASBUF_SIZE);
  HAL_Delay(100);
#endif
  printf("Start Speed %x\n",readSpeedXScaled);
  printf("Freq  = %f,sSpeed= %x %04d %04d %04d speed=%x\n",SYS_CLK_MHZ*1000000.0/(MAX_VOL),sForcedSpeed,HalfTransfer_CallBack_FS_Counter,TransferComplete_CallBack_FS_Counter,AUDIO_PeriodicTC_FS_Counter,readSpeedXScaled);
  /* USER CODE END 2 */

  /* Infinite loop */
  /* USER CODE BEGIN WHILE */
  //int timcnt =0;
  int ko = 0;
  printf("freq = %d hz \n",frequency);

  while (1)
  {
    /* USER CODE END WHILE */

    /* USER CODE BEGIN 3 */
	  if(HAL_GetTick()/204!=ko)
	  {
		  ko = HAL_GetTick()/204;
		  // printf("%04d %04d %04d %04d %04d\n",HalfTransfer_CallBack_FS_Counter,TransferComplete_CallBack_FS_Counter,AUDIO_PeriodicTC_FS_Counter,AUDIO_OUT_Play_Counter,AUDIO_OUT_ChangeBuffer_Counter);
		  //printf("MAX_VOL = %d INSpeed=%0.01f Hz outSpeed=%0.01f Hz %x Delta %d SMPInH %d elaps = %d mS,ForcedSpeed = %x  %04d PLLspeed = %x %01d %07d s=%d \n",MAX_VOL,inputSpeed,(TIMER_CLOCK_FREQ*(float)outDmaSpeedScaled)/TIME_SCALE_FACT,outDmaSpeedScaled,appDistErr,samplesInBuffH,elapsed_time_ticks,sForcedSpeed,AUDIO_PeriodicTC_FS_Counter,readSpeedXScaled,HAL_GPIO_ReadPin(KEY_GPIO_Port,KEY_Pin),TIM2->CNT,UsbSamplesAvail);
		  uint32_t out = frequency;
		  printf("freq = %d Hz \n",out/100);
	  }
  }
  /* USER CODE END 3 */
}

void SystemClock_Config(void)
{
  RCC_OscInitTypeDef RCC_OscInitStruct = {0};
  RCC_ClkInitTypeDef RCC_ClkInitStruct = {0};

  /** Configure the main internal regulator output voltage
  */
  __HAL_RCC_PWR_CLK_ENABLE();
  __HAL_PWR_VOLTAGESCALING_CONFIG(PWR_REGULATOR_VOLTAGE_SCALE2);

  /** Initializes the RCC Oscillators according to the specified parameters
  * in the RCC_OscInitTypeDef structure.
  */
  RCC_OscInitStruct.OscillatorType = RCC_OSCILLATORTYPE_HSE;
  RCC_OscInitStruct.HSEState = RCC_HSE_ON;
  RCC_OscInitStruct.PLL.PLLState = RCC_PLL_ON;
  RCC_OscInitStruct.PLL.PLLSource = RCC_PLLSOURCE_HSE;
  RCC_OscInitStruct.PLL.PLLM = 8;
  RCC_OscInitStruct.PLL.PLLN = 336;
  RCC_OscInitStruct.PLL.PLLP = RCC_PLLP_DIV4;
  RCC_OscInitStruct.PLL.PLLQ = 7;
  if (HAL_RCC_OscConfig(&RCC_OscInitStruct) != HAL_OK)
  {
    Error_Handler();
  }

  /** Initializes the CPU, AHB and APB buses clocks
  */
  RCC_ClkInitStruct.ClockType = RCC_CLOCKTYPE_HCLK|RCC_CLOCKTYPE_SYSCLK
                              |RCC_CLOCKTYPE_PCLK1|RCC_CLOCKTYPE_PCLK2;
  RCC_ClkInitStruct.SYSCLKSource = RCC_SYSCLKSOURCE_PLLCLK;
  RCC_ClkInitStruct.AHBCLKDivider = RCC_SYSCLK_DIV1;
  RCC_ClkInitStruct.APB1CLKDivider = RCC_HCLK_DIV2;
  RCC_ClkInitStruct.APB2CLKDivider = RCC_HCLK_DIV1;

  if (HAL_RCC_ClockConfig(&RCC_ClkInitStruct, FLASH_LATENCY_2) != HAL_OK)
  {
    Error_Handler();
  }
}

static void MX_I2S2_Init(void)
{

  hi2s2.Instance = SPI2;
  hi2s2.Init.Mode = I2S_MODE_MASTER_TX;
  hi2s2.Init.Standard = I2S_STANDARD_PHILIPS;
  hi2s2.Init.DataFormat = I2S_DATAFORMAT_16B;
  hi2s2.Init.MCLKOutput = I2S_MCLKOUTPUT_DISABLE;
  hi2s2.Init.AudioFreq = I2S_AUDIOFREQ_192K;
  hi2s2.Init.CPOL = I2S_CPOL_LOW;
  hi2s2.Init.ClockSource = I2S_CLOCK_PLL;
  hi2s2.Init.FullDuplexMode = I2S_FULLDUPLEXMODE_DISABLE;
  if (HAL_I2S_Init(&hi2s2) != HAL_OK)
  {
    Error_Handler();
  }

}

static void MX_SPI3_Init(void)
{

  /* SPI3 parameter configuration*/
  hspi3.Instance = SPI3;
  hspi3.Init.Mode = SPI_MODE_MASTER;
  hspi3.Init.Direction = SPI_DIRECTION_2LINES;
  hspi3.Init.DataSize = SPI_DATASIZE_8BIT;
  hspi3.Init.CLKPolarity = SPI_POLARITY_HIGH;
  hspi3.Init.CLKPhase = SPI_PHASE_2EDGE;
  hspi3.Init.NSS = SPI_NSS_SOFT;
  hspi3.Init.BaudRatePrescaler = SPI_BAUDRATEPRESCALER_2;
  hspi3.Init.FirstBit = SPI_FIRSTBIT_MSB;
  hspi3.Init.TIMode = SPI_TIMODE_DISABLE;
  hspi3.Init.CRCCalculation = SPI_CRCCALCULATION_DISABLE;
  hspi3.Init.CRCPolynomial = 10;
  if (HAL_SPI_Init(&hspi3) != HAL_OK)
  {
    Error_Handler();
  }

}

static void MX_TIM1_Init(void)
{

  LL_TIM_InitTypeDef TIM_InitStruct = {0};
  LL_TIM_OC_InitTypeDef TIM_OC_InitStruct = {0};
  LL_TIM_BDTR_InitTypeDef TIM_BDTRInitStruct = {0};

  LL_GPIO_InitTypeDef GPIO_InitStruct = {0};

  /* Peripheral clock enable */
  LL_APB2_GRP1_EnableClock(LL_APB2_GRP1_PERIPH_TIM1);

  /* TIM1 DMA Init */

  /* TIM1_CH1 Init */
  LL_DMA_SetChannelSelection(DMA2, LL_DMA_STREAM_1, LL_DMA_CHANNEL_6);

  LL_DMA_SetDataTransferDirection(DMA2, LL_DMA_STREAM_1, LL_DMA_DIRECTION_MEMORY_TO_PERIPH);

  LL_DMA_SetStreamPriorityLevel(DMA2, LL_DMA_STREAM_1, LL_DMA_PRIORITY_HIGH);

  LL_DMA_SetMode(DMA2, LL_DMA_STREAM_1, LL_DMA_MODE_CIRCULAR);

  LL_DMA_SetPeriphIncMode(DMA2, LL_DMA_STREAM_1, LL_DMA_PERIPH_NOINCREMENT);

  LL_DMA_SetMemoryIncMode(DMA2, LL_DMA_STREAM_1, LL_DMA_MEMORY_INCREMENT);

  LL_DMA_SetPeriphSize(DMA2, LL_DMA_STREAM_1, LL_DMA_PDATAALIGN_HALFWORD);

  LL_DMA_SetMemorySize(DMA2, LL_DMA_STREAM_1, LL_DMA_MDATAALIGN_HALFWORD);

  LL_DMA_EnableFifoMode(DMA2, LL_DMA_STREAM_1);

  LL_DMA_SetFIFOThreshold(DMA2, LL_DMA_STREAM_1, LL_DMA_FIFOTHRESHOLD_FULL);

  LL_DMA_SetMemoryBurstxfer(DMA2, LL_DMA_STREAM_1, LL_DMA_MBURST_INC8);

  LL_DMA_SetPeriphBurstxfer(DMA2, LL_DMA_STREAM_1, LL_DMA_PBURST_SINGLE);

  /* TIM1_CH2 Init */
  LL_DMA_SetChannelSelection(DMA2, LL_DMA_STREAM_2, LL_DMA_CHANNEL_6);

  LL_DMA_SetDataTransferDirection(DMA2, LL_DMA_STREAM_2, LL_DMA_DIRECTION_MEMORY_TO_PERIPH);

  LL_DMA_SetStreamPriorityLevel(DMA2, LL_DMA_STREAM_2, LL_DMA_PRIORITY_HIGH);

  LL_DMA_SetMode(DMA2, LL_DMA_STREAM_2, LL_DMA_MODE_CIRCULAR);

  LL_DMA_SetPeriphIncMode(DMA2, LL_DMA_STREAM_2, LL_DMA_PERIPH_NOINCREMENT);

  LL_DMA_SetMemoryIncMode(DMA2, LL_DMA_STREAM_2, LL_DMA_MEMORY_INCREMENT);

  LL_DMA_SetPeriphSize(DMA2, LL_DMA_STREAM_2, LL_DMA_PDATAALIGN_HALFWORD);

  LL_DMA_SetMemorySize(DMA2, LL_DMA_STREAM_2, LL_DMA_MDATAALIGN_HALFWORD);

  LL_DMA_EnableFifoMode(DMA2, LL_DMA_STREAM_2);

  LL_DMA_SetFIFOThreshold(DMA2, LL_DMA_STREAM_2, LL_DMA_FIFOTHRESHOLD_FULL);

  LL_DMA_SetMemoryBurstxfer(DMA2, LL_DMA_STREAM_2, LL_DMA_MBURST_INC8);

  LL_DMA_SetPeriphBurstxfer(DMA2, LL_DMA_STREAM_2, LL_DMA_PBURST_SINGLE);

  TIM_InitStruct.Prescaler = 0;
  TIM_InitStruct.CounterMode = LL_TIM_COUNTERMODE_UP;
  TIM_InitStruct.Autoreload = 65535;
  TIM_InitStruct.ClockDivision = LL_TIM_CLOCKDIVISION_DIV1;
  TIM_InitStruct.RepetitionCounter = 0;
  LL_TIM_Init(TIM1, &TIM_InitStruct);
  LL_TIM_DisableARRPreload(TIM1);
  LL_TIM_OC_EnablePreload(TIM1, LL_TIM_CHANNEL_CH1);
  TIM_OC_InitStruct.OCMode = LL_TIM_OCMODE_PWM1;
  TIM_OC_InitStruct.OCState = LL_TIM_OCSTATE_DISABLE;
  TIM_OC_InitStruct.OCNState = LL_TIM_OCSTATE_DISABLE;
  TIM_OC_InitStruct.CompareValue = 0;
  TIM_OC_InitStruct.OCPolarity = LL_TIM_OCPOLARITY_HIGH;
  TIM_OC_InitStruct.OCNPolarity = LL_TIM_OCPOLARITY_HIGH;
  TIM_OC_InitStruct.OCIdleState = LL_TIM_OCIDLESTATE_LOW;
  TIM_OC_InitStruct.OCNIdleState = LL_TIM_OCIDLESTATE_LOW;
  LL_TIM_OC_Init(TIM1, LL_TIM_CHANNEL_CH1, &TIM_OC_InitStruct);
  LL_TIM_OC_DisableFast(TIM1, LL_TIM_CHANNEL_CH1);
  LL_TIM_OC_EnablePreload(TIM1, LL_TIM_CHANNEL_CH2);
  LL_TIM_OC_Init(TIM1, LL_TIM_CHANNEL_CH2, &TIM_OC_InitStruct);
  LL_TIM_OC_DisableFast(TIM1, LL_TIM_CHANNEL_CH2);
  LL_TIM_SetTriggerOutput(TIM1, LL_TIM_TRGO_RESET);
  LL_TIM_DisableMasterSlaveMode(TIM1);
  TIM_BDTRInitStruct.OSSRState = LL_TIM_OSSR_DISABLE;
  TIM_BDTRInitStruct.OSSIState = LL_TIM_OSSI_DISABLE;
  TIM_BDTRInitStruct.LockLevel = LL_TIM_LOCKLEVEL_OFF;
  TIM_BDTRInitStruct.DeadTime = 0;
  TIM_BDTRInitStruct.BreakState = LL_TIM_BREAK_DISABLE;
  TIM_BDTRInitStruct.BreakPolarity = LL_TIM_BREAK_POLARITY_HIGH;
  TIM_BDTRInitStruct.AutomaticOutput = LL_TIM_AUTOMATICOUTPUT_DISABLE;
  LL_TIM_BDTR_Init(TIM1, &TIM_BDTRInitStruct);
  LL_AHB1_GRP1_EnableClock(LL_AHB1_GRP1_PERIPH_GPIOB);
  LL_AHB1_GRP1_EnableClock(LL_AHB1_GRP1_PERIPH_GPIOA);
  /**TIM1 GPIO Configuration
  PB0   ------> TIM1_CH2N
  PB13   ------> TIM1_CH1N
  PA8   ------> TIM1_CH1
  PA9   ------> TIM1_CH2
  */
  GPIO_InitStruct.Pin = LL_GPIO_PIN_0|LL_GPIO_PIN_13;
  GPIO_InitStruct.Mode = LL_GPIO_MODE_ALTERNATE;
  GPIO_InitStruct.Speed = LL_GPIO_SPEED_FREQ_HIGH;
  GPIO_InitStruct.OutputType = LL_GPIO_OUTPUT_PUSHPULL;
  GPIO_InitStruct.Pull = LL_GPIO_PULL_NO;
  GPIO_InitStruct.Alternate = LL_GPIO_AF_1;
  LL_GPIO_Init(GPIOB, &GPIO_InitStruct);

  GPIO_InitStruct.Pin = LL_GPIO_PIN_8|LL_GPIO_PIN_9;
  GPIO_InitStruct.Mode = LL_GPIO_MODE_ALTERNATE;
  GPIO_InitStruct.Speed = LL_GPIO_SPEED_FREQ_HIGH;
  GPIO_InitStruct.OutputType = LL_GPIO_OUTPUT_OPENDRAIN;
  GPIO_InitStruct.Pull = LL_GPIO_PULL_UP;
  GPIO_InitStruct.Alternate = LL_GPIO_AF_1;
  LL_GPIO_Init(GPIOA, &GPIO_InitStruct);

}

static void MX_TIM2_Init(void)
{

  TIM_Encoder_InitTypeDef sConfig = {0};
  TIM_MasterConfigTypeDef sMasterConfig = {0};

  htim2.Instance = TIM2;
  htim2.Init.Prescaler = 0;
  htim2.Init.CounterMode = TIM_COUNTERMODE_UP;
  htim2.Init.Period = 4294967295;
  htim2.Init.ClockDivision = TIM_CLOCKDIVISION_DIV1;
  htim2.Init.AutoReloadPreload = TIM_AUTORELOAD_PRELOAD_ENABLE;
  sConfig.EncoderMode = TIM_ENCODERMODE_TI12;
  sConfig.IC1Polarity = TIM_ICPOLARITY_RISING;
  sConfig.IC1Selection = TIM_ICSELECTION_DIRECTTI;
  sConfig.IC1Prescaler = TIM_ICPSC_DIV1;
  sConfig.IC1Filter = 0;
  sConfig.IC2Polarity = TIM_ICPOLARITY_RISING;
  sConfig.IC2Selection = TIM_ICSELECTION_DIRECTTI;
  sConfig.IC2Prescaler = TIM_ICPSC_DIV1;
  sConfig.IC2Filter = 10;
  if (HAL_TIM_Encoder_Init(&htim2, &sConfig) != HAL_OK)
  {
    Error_Handler();
  }
  sMasterConfig.MasterOutputTrigger = TIM_TRGO_RESET;
  sMasterConfig.MasterSlaveMode = TIM_MASTERSLAVEMODE_DISABLE;
  if (HAL_TIMEx_MasterConfigSynchronization(&htim2, &sMasterConfig) != HAL_OK)
  {
    Error_Handler();
  }

}

static void MX_TIM3_Init(void)
{

  TIM_ClockConfigTypeDef sClockSourceConfig = {0};
  TIM_MasterConfigTypeDef sMasterConfig = {0};

  htim3.Instance = TIM3;
  htim3.Init.Prescaler = 840/4-1;
  htim3.Init.CounterMode = TIM_COUNTERMODE_UP;
  htim3.Init.Period = 65535;
  htim3.Init.ClockDivision = TIM_CLOCKDIVISION_DIV1;
  htim3.Init.AutoReloadPreload = TIM_AUTORELOAD_PRELOAD_DISABLE;
  if (HAL_TIM_Base_Init(&htim3) != HAL_OK)
  {
    Error_Handler();
  }
  sClockSourceConfig.ClockSource = TIM_CLOCKSOURCE_INTERNAL;
  if (HAL_TIM_ConfigClockSource(&htim3, &sClockSourceConfig) != HAL_OK)
  {
    Error_Handler();
  }
  sMasterConfig.MasterOutputTrigger = TIM_TRGO_RESET;
  sMasterConfig.MasterSlaveMode = TIM_MASTERSLAVEMODE_DISABLE;
  if (HAL_TIMEx_MasterConfigSynchronization(&htim3, &sMasterConfig) != HAL_OK)
  {
    Error_Handler();
  }

}

static void MX_USART2_UART_Init(void)
{

  huart2.Instance = USART2;
  huart2.Init.BaudRate = 115200;
  huart2.Init.WordLength = UART_WORDLENGTH_8B;
  huart2.Init.StopBits = UART_STOPBITS_1;
  huart2.Init.Parity = UART_PARITY_NONE;
  huart2.Init.Mode = UART_MODE_TX_RX;
  huart2.Init.HwFlowCtl = UART_HWCONTROL_NONE;
  huart2.Init.OverSampling = UART_OVERSAMPLING_16;
  if (HAL_UART_Init(&huart2) != HAL_OK)
  {
    Error_Handler();
  }

}

static void MX_DMA_Init(void)
{

  /* DMA controller clock enable */
  __HAL_RCC_DMA2_CLK_ENABLE();
  __HAL_RCC_DMA1_CLK_ENABLE();

  /* DMA interrupt init */
  /* DMA1_Stream4_IRQn interrupt configuration */
  HAL_NVIC_SetPriority(DMA1_Stream4_IRQn, 0, 0);
  HAL_NVIC_EnableIRQ(DMA1_Stream4_IRQn);
  /* DMA1_Stream5_IRQn interrupt configuration */
  HAL_NVIC_SetPriority(DMA1_Stream5_IRQn, 0, 0);
  HAL_NVIC_EnableIRQ(DMA1_Stream5_IRQn);
  /* DMA2_Stream1_IRQn interrupt configuration */
  NVIC_SetPriority(DMA2_Stream1_IRQn, NVIC_EncodePriority(NVIC_GetPriorityGrouping(),0, 0));
  NVIC_EnableIRQ(DMA2_Stream1_IRQn);
  /* DMA2_Stream2_IRQn interrupt configuration */
  NVIC_SetPriority(DMA2_Stream2_IRQn, NVIC_EncodePriority(NVIC_GetPriorityGrouping(),0, 0));
  NVIC_EnableIRQ(DMA2_Stream2_IRQn);

}

static void MX_GPIO_Init(void)
{
  GPIO_InitTypeDef GPIO_InitStruct = {0};

  /* GPIO Ports Clock Enable */
  __HAL_RCC_GPIOC_CLK_ENABLE();
  __HAL_RCC_GPIOH_CLK_ENABLE();
  __HAL_RCC_GPIOA_CLK_ENABLE();
  __HAL_RCC_GPIOB_CLK_ENABLE();

  /*Configure GPIO pin Output Level */
  HAL_GPIO_WritePin(GPIOA, LED_Pin|DUMMY_OUT_Pin, GPIO_PIN_RESET);

  /*Configure GPIO pin Output Level */
  HAL_GPIO_WritePin(MUTE_OUT_GPIO_Port, MUTE_OUT_Pin, GPIO_PIN_RESET);

  /*Configure GPIO pin : Button_Pin */
  GPIO_InitStruct.Pin = Button_Pin;
  GPIO_InitStruct.Mode = GPIO_MODE_INPUT;
  GPIO_InitStruct.Pull = GPIO_NOPULL;
  HAL_GPIO_Init(Button_GPIO_Port, &GPIO_InitStruct);

  /*Configure GPIO pins : LED_Pin DUMMY_OUT_Pin */
  GPIO_InitStruct.Pin = LED_Pin|DUMMY_OUT_Pin;
  GPIO_InitStruct.Mode = GPIO_MODE_OUTPUT_PP;
  GPIO_InitStruct.Pull = GPIO_NOPULL;
  GPIO_InitStruct.Speed = GPIO_SPEED_FREQ_LOW;
  HAL_GPIO_Init(GPIOA, &GPIO_InitStruct);

  /*Configure GPIO pin : MUTE_OUT_Pin */
  GPIO_InitStruct.Pin = MUTE_OUT_Pin;
  GPIO_InitStruct.Mode = GPIO_MODE_OUTPUT_PP;
  GPIO_InitStruct.Pull = GPIO_NOPULL;
  GPIO_InitStruct.Speed = GPIO_SPEED_FREQ_LOW;
  HAL_GPIO_Init(MUTE_OUT_GPIO_Port, &GPIO_InitStruct);

  /*Configure GPIO pin : KEY_Pin */
  GPIO_InitStruct.Pin = KEY_Pin;
  GPIO_InitStruct.Mode = GPIO_MODE_INPUT;
  GPIO_InitStruct.Pull = GPIO_NOPULL;
  HAL_GPIO_Init(KEY_GPIO_Port, &GPIO_InitStruct);

}

void Error_Handler(void)
{
  __disable_irq();
  while (1)
  {
  }
}
